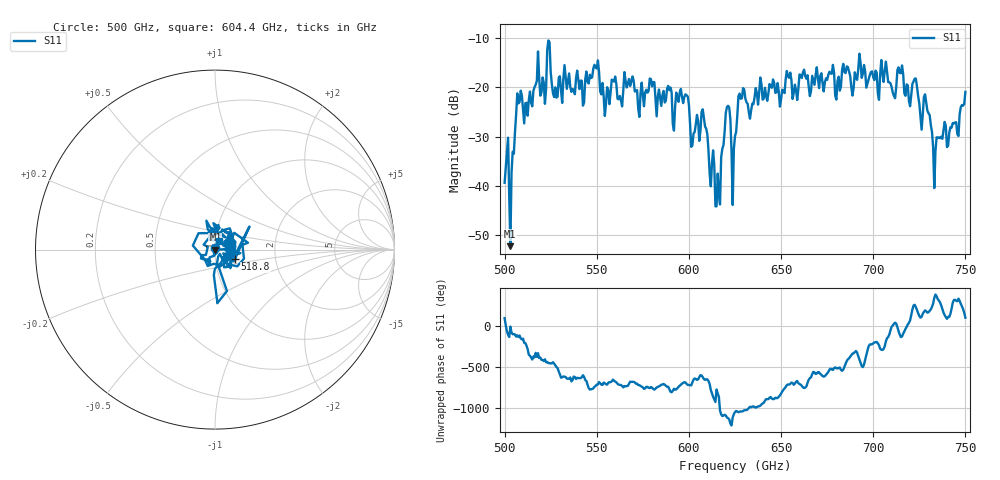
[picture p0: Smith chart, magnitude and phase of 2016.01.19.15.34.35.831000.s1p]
!Created with skrf (http://scikit-rf.org).
# GHz S RI R 50.0
!freq ReS11 ImS11
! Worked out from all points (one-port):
!   401 points, 500 GHz to 750 GHz, reference 50 ohm
!   lowest |S11| = -52.3 dB at 503.1 GHz (marker M1), VSWR 1.00, Z = 50.2 - j0.012 ohm
!   |S11| at or under -10 dB: start of sweep to end of sweep
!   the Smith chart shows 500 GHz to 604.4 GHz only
!   S11 on the Smith chart (normalised r, x): 500 GHz: 1.00, +0.02; 518.8 GHz: 1.24, -0.14; 604.4 GHz: 1.04, +0.10
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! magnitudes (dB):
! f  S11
! 500 GHz  -39.4
! 503.1 GHz  -52.3
! 507.5 GHz  -23.3
! 518.8 GHz  -18.2
! 521.2 GHz  -19.1
! 524.4 GHz  -10.8
! 527.5 GHz  -20.0
! 531.2 GHz  -23.2
! 549.4 GHz  -16.0
! 553.8 GHz  -21.9
! 562.5 GHz  -21.8
! 566.2 GHz  -20.0
! 593.8 GHz  -22.2
! 604.4 GHz  -25.6
! 608.1 GHz  -26.3
! 615.6 GHz  -37.5
! 620.6 GHz  -24.0
! 625 GHz  -30.0
! 628.8 GHz  -22.2
! 656.2 GHz  -22.4
! 687.5 GHz  -17.7
! 705.6 GHz  -18.9
! 711.2 GHz  -21.7
! 714.4 GHz  -17.1
! 718.8 GHz  -19.6
! 728.8 GHz  -23.2
! 733.8 GHz  -33.0
! 750 GHz  -20.9
